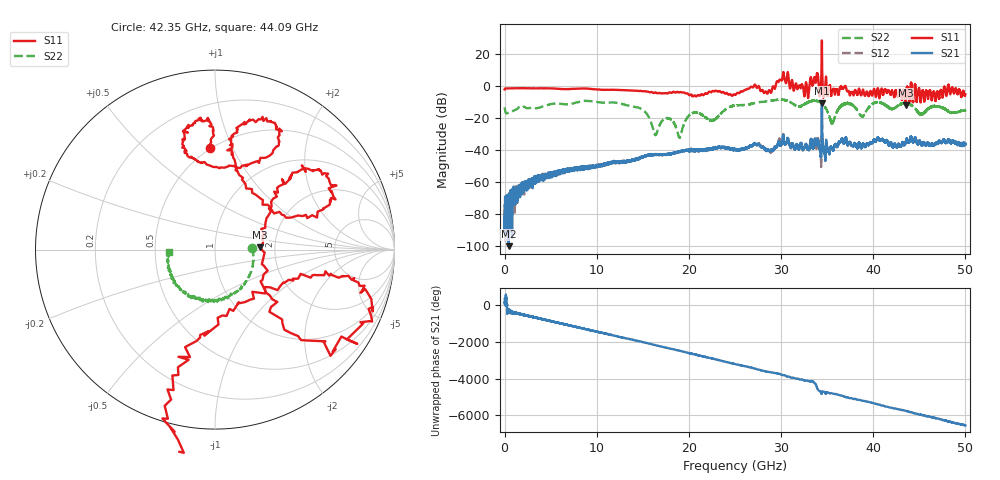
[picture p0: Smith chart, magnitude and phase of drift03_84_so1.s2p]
!Created with skrf (http://scikit-rf.org).
# Hz S RI R 50.0
!freq ReS11 ImS11 ReS21 ImS21 ReS12 ImS12 ReS22 ImS22
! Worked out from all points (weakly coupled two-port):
!   10000 points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, 5.3 MHz to 50 GHz, reference 50 ohm
!   highest |S21| = -10.79 dB at 34.43 GHz (marker M1); lowest = -100.0 dB at 450.3 MHz (marker M2)
!   lowest |S11| = -11.9 dB at 43.52 GHz (marker M3), VSWR 1.68, Z = 83.7 + j2.25 ohm
!   |S11| at or under -10 dB: 43.48519 GHz to 43.55564 GHz (70.45 MHz wide, 0.162 % of centre); 43.8998 GHz to 43.90041 GHz (604.7 kHz wide, 0.00138 % of centre); 44.31417 GHz to 44.31546 GHz (1.295 MHz wide, 0.00292 % of centre) (the widest 3 of 4)
!   |S22| runs from -32.2 to -8.4 dB; largest |S21 - S12| = 0.086
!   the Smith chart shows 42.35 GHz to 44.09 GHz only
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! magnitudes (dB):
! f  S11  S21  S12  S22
! 5.3 MHz  -2.1  -84.7  -90.8  -13.3
! 450.3 MHz  -1.4  -100.0  -74.5  -16.6
! 2.94 GHz  -1.4  -58.7  -59.9  -13.5
! 8.34 GHz  -1.5  -51.1  -51.2  -9.5
! 14.6 GHz  -3.1  -45.0  -45.0  -13.6
! 16.67 GHz  -4.4  -43.0  -42.8  -26.6
! 17.79 GHz  -4.3  -42.6  -42.5  -20.1
! 19 GHz  -3.9  -41.0  -41.0  -32.1
! 20.3 GHz  -5.6  -39.6  -39.8  -17.1
! 22.6 GHz  -3.1  -39.3  -38.9  -21.4
! 25.01 GHz  -5.5  -39.9  -39.9  -12.1
! 28.72 GHz  -2.5  -40.7  -40.7  -9.3
! 30.14 GHz  4.4  -33.2  -33.8  -8.5
! 32.74 GHz  2.0  -36.9  -36.6  -10.7
! 33.34 GHz  2.6  -34.9  -35.0  -9.3
! 34.43 GHz  28.5  -10.8  -12.7  -10.8
! 35.54 GHz  -3.1  -38.8  -38.9  -23.3
! 36.95 GHz  0.2  -33.0  -33.2  -11.2
! 38.78 GHz  -4.5  -37.7  -37.7  -19.0
! 41.67 GHz  -2.8  -36.8  -36.8  -13.2
! 43.52 GHz  -11.9  -35.1  -35.2  -10.8
! 50 GHz  -5.2  -36.6  -37.0  -15.4
